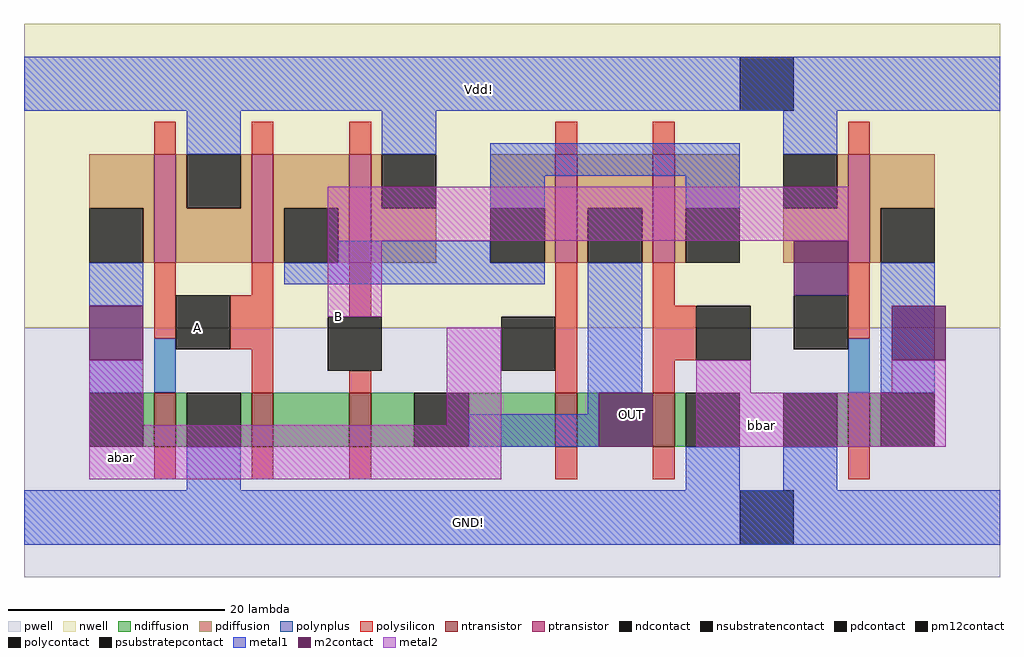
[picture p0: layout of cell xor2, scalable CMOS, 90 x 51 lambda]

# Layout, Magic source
magic
tech scmos
<< nwell >>
rect 124 -40 212 -12
<< pwell >>
rect 124 -63 212 -40
<< ntransistor >>
rect 136 -51 138 -46
rect 145 -51 147 -46
rect 154 -51 156 -46
rect 173 -51 175 -46
rect 182 -51 184 -46
<< ptransistor >>
rect 136 -34 138 -24
rect 145 -34 147 -24
rect 154 -34 156 -24
rect 173 -34 175 -24
rect 182 -34 184 -24
<< ndiffusion >>
rect 135 -51 136 -46
rect 138 -51 139 -46
rect 144 -51 145 -46
rect 147 -51 154 -46
rect 156 -51 160 -46
rect 165 -51 173 -46
rect 175 -51 182 -46
rect 184 -51 185 -46
<< pdiffusion >>
rect 130 -29 136 -24
rect 135 -34 136 -29
rect 138 -29 139 -24
rect 144 -29 145 -24
rect 138 -34 145 -29
rect 147 -29 154 -24
rect 147 -34 148 -29
rect 153 -34 154 -29
rect 156 -29 157 -24
rect 156 -34 162 -29
rect 167 -29 173 -24
rect 172 -34 173 -29
rect 175 -29 182 -24
rect 175 -34 176 -29
rect 181 -34 182 -29
rect 184 -29 190 -24
rect 184 -34 185 -29
<< ndcontact >>
rect 130 -51 135 -46
rect 139 -51 144 -46
rect 160 -51 165 -46
rect 185 -51 190 -46
<< pdcontact >>
rect 130 -34 135 -29
rect 139 -29 144 -24
rect 148 -34 153 -29
rect 157 -29 162 -24
rect 167 -34 172 -29
rect 176 -34 181 -29
rect 185 -34 190 -29
<< polysilicon >>
rect 136 -24 138 -21
rect 145 -24 147 -21
rect 154 -24 156 -21
rect 173 -24 175 -21
rect 182 -24 184 -21
rect 136 -41 138 -34
rect 145 -37 147 -34
rect 143 -42 147 -37
rect 154 -39 156 -34
rect 145 -46 147 -42
rect 154 -46 156 -44
rect 173 -46 175 -34
rect 182 -38 184 -34
rect 182 -43 186 -38
rect 182 -46 184 -43
rect 136 -54 138 -51
rect 145 -54 147 -51
rect 154 -54 156 -51
rect 173 -54 175 -51
rect 182 -54 184 -51
<< polycontact >>
rect 138 -42 143 -37
<< polynplus >>
rect 136 -46 138 -41
<< metal1 >>
rect 124 -20 212 -15
rect 139 -24 144 -20
rect 157 -24 162 -20
rect 167 -26 190 -23
rect 167 -29 172 -26
rect 185 -29 190 -26
rect 130 -38 135 -34
rect 153 -34 167 -32
rect 148 -36 172 -34
rect 130 -46 135 -43
rect 176 -46 181 -34
rect 176 -48 177 -46
rect 165 -51 177 -48
rect 139 -55 144 -51
rect 185 -55 190 -51
rect 124 -60 212 -55
<< m2contact >>
rect 130 -43 135 -38
rect 195 -37 200 -32
rect 204 -43 209 -38
rect 177 -51 182 -46
<< pm12contact >>
rect 152 -44 157 -39
rect 168 -44 173 -39
rect 186 -43 191 -38
<< metal2 >>
rect 152 -32 200 -27
rect 130 -49 135 -43
rect 152 -39 157 -32
rect 163 -49 168 -40
rect 186 -46 191 -43
rect 204 -46 209 -43
rect 130 -54 168 -49
rect 186 -51 209 -46
use inv  inv_2
transform 1 0 195 0 1 -54
box -8 -9 19 42
<< labels >>
flabel metal2 153 -39 153 -39 1 FreeSans 16 0 0 0 B
flabel m2contact 180 -48 180 -48 1 FreeSans 16 0 0 0 OUT
flabel metal1 166 -18 166 -18 1 FreeSans 16 0 0 0 Vdd!
rlabel metal2 192 -49 192 -49 1 bbar
rlabel metal2 133 -52 133 -52 1 abar
flabel metal1 165 -58 165 -58 1 FreeSans 16 0 0 0 GND!
flabel polycontact 140 -40 140 -40 1 FreeSans 16 0 0 0 A
<< end >>

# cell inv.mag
magic
tech scmos
<< nwell >>
rect -8 14 19 42
<< pwell >>
rect -8 -9 19 14
<< ntransistor >>
rect 5 3 7 8
<< ptransistor >>
rect 5 20 7 30
<< ndiffusion >>
rect 4 3 5 8
rect 7 3 8 8
<< pdiffusion >>
rect 4 25 5 30
rect -1 20 5 25
rect 7 25 13 30
rect 7 20 8 25
<< ndcontact >>
rect -1 3 4 8
rect 8 3 13 8
<< pdcontact >>
rect -1 25 4 30
rect 8 20 13 25
<< psubstratepcontact >>
rect -5 -6 0 -1
<< nsubstratencontact >>
rect -5 34 0 39
<< polysilicon >>
rect 5 30 7 33
rect 5 13 7 20
rect 5 0 7 3
<< polycontact >>
rect 0 12 5 17
<< polynplus >>
rect 5 8 7 13
<< metal1 >>
rect -8 34 -5 39
rect 0 34 19 39
rect -1 30 4 34
rect 8 8 13 20
rect -1 -1 4 3
rect -8 -6 -5 -1
rect 0 -6 19 -1
<< labels >>
rlabel metal1 9 13 9 13 1 out
rlabel polycontact 2 14 2 14 1 in
rlabel psubstratepcontact -2 -5 -2 -5 1 GND!
rlabel nsubstratencontact -3 37 -3 37 5 Vdd!
<< end >>
